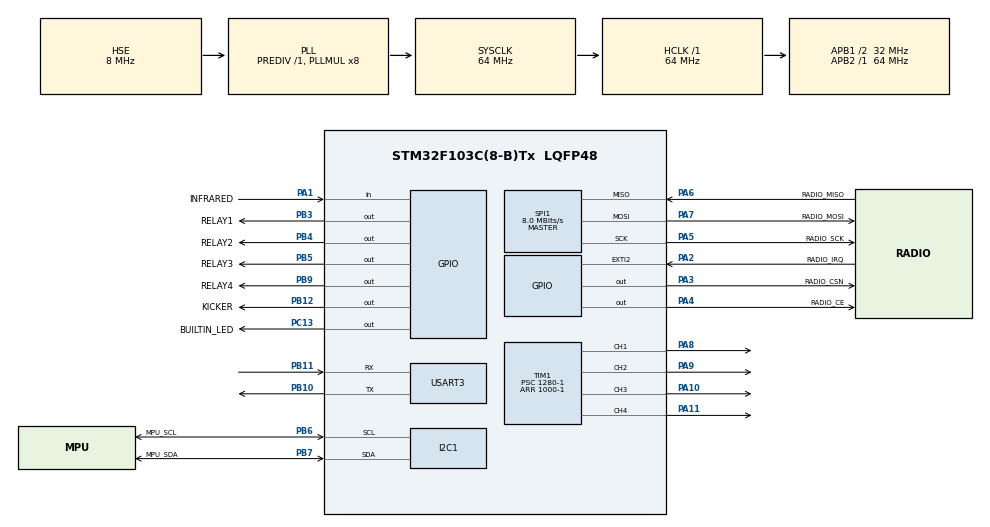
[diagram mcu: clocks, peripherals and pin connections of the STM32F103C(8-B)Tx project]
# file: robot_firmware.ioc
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I2C1.I2C_Mode=I2C_Fast
Mcu.Family=STM32F1
Mcu.Name=STM32F103C(8-B)Tx
Mcu.Package=LQFP48
NVIC.PriorityGroup=NVIC_PRIORITYGROUP_4
NVIC.TIM2_IRQn=true\:0\:0\:false\:false\:true\:true\:true\:true
NVIC.TIM3_IRQn=true\:0\:0\:false\:false\:true\:true\:true\:true
NVIC.TIM4_IRQn=true\:0\:0\:false\:false\:true\:true\:true\:true
PA1.GPIO_Label=INFRARED
PA1.Signal=GPIO_Input
PA10.Signal=S_TIM1_CH3
PA11.Signal=S_TIM1_CH4
PA2.GPIO_Label=RADIO_IRQ
PA2.Signal=GPXTI2
PA3.GPIO_Label=RADIO_CSN
PA3.Signal=GPIO_Output
PA4.GPIO_Label=RADIO_CE
PA4.Signal=GPIO_Output
PA5.GPIO_Label=RADIO_SCK
PA5.Mode=Full_Duplex_Master
PA5.Signal=SPI1_SCK
PA6.GPIO_Label=RADIO_MISO
PA6.Mode=Full_Duplex_Master
PA6.Signal=SPI1_MISO
PA7.GPIO_Label=RADIO_MOSI
PA7.Mode=Full_Duplex_Master
PA7.Signal=SPI1_MOSI
PA8.Signal=S_TIM1_CH1
PA9.Signal=S_TIM1_CH2
PB10.Mode=Asynchronous
PB10.Signal=USART3_TX
PB11.Mode=Asynchronous
PB11.Signal=USART3_RX
PB12.GPIO_Label=KICKER
PB12.Signal=GPIO_Output
PB3.GPIO_Label=RELAY1
PB3.Signal=GPIO_Output
PB4.GPIO_Label=RELAY2
PB4.Signal=GPIO_Output
PB5.GPIO_Label=RELAY3
PB5.Signal=GPIO_Output
PB6.GPIO_Label=MPU_SCL
PB6.Mode=I2C
PB6.Signal=I2C1_SCL
PB7.GPIO_Label=MPU_SDA
PB7.Mode=I2C
PB7.Signal=I2C1_SDA
PB9.GPIO_Label=RELAY4
PB9.Signal=GPIO_Output
PC13-TAMPER-RTC.GPIO_Label=BUILTIN_LED
PC13-TAMPER-RTC.Signal=GPIO_Output
PD0-OSC_IN.Mode=HSE-External-Oscillator
PD0-OSC_IN.Signal=RCC_OSC_IN
PD1-OSC_OUT.Mode=HSE-External-Oscillator
PD1-OSC_OUT.Signal=RCC_OSC_OUT
ProjectManager.HeapSize=0x200
ProjectManager.StackSize=0x400
ProjectManager.TargetToolchain=STM32CubeIDE
RCC.AHBFreq_Value=64000000
RCC.APB1CLKDivider=RCC_HCLK_DIV2
RCC.APB1Freq_Value=32000000
RCC.APB1TimFreq_Value=64000000
RCC.APB2Freq_Value=64000000
RCC.APB2TimFreq_Value=64000000
RCC.HCLKFreq_Value=64000000
RCC.PLLMUL=RCC_PLL_MUL8
RCC.PLLSourceVirtual=RCC_PLLSOURCE_HSE
RCC.SYSCLKFreq_VALUE=64000000
RCC.SYSCLKSource=RCC_SYSCLKSOURCE_PLLCLK
RCC.USBFreq_Value=64000000
SH.S_TIM1_CH1.0=TIM1_CH1,PWM Generation1 CH1
SH.S_TIM1_CH2.0=TIM1_CH2,PWM Generation2 CH2
SH.S_TIM1_CH3.0=TIM1_CH3,PWM Generation3 CH3
SH.S_TIM1_CH4.0=TIM1_CH4,PWM Generation4 CH4
SPI1.BaudRatePrescaler=SPI_BAUDRATEPRESCALER_8
SPI1.CalculateBaudRate=8.0 MBits/s
SPI1.Direction=SPI_DIRECTION_2LINES
SPI1.Mode=SPI_MODE_MASTER
SPI1.VirtualType=VM_MASTER
TIM1.Channel-PWM\ Generation1\ CH1=TIM_CHANNEL_1
TIM1.Channel-PWM\ Generation2\ CH2=TIM_CHANNEL_2
TIM1.Channel-PWM\ Generation3\ CH3=TIM_CHANNEL_3
TIM1.Channel-PWM\ Generation4\ CH4=TIM_CHANNEL_4
TIM1.Period=1000-1
TIM1.Prescaler=1280-1
TIM2.Period=11250-1
TIM2.Prescaler=100-1
TIM3.Period=3750-1
TIM3.Prescaler=100-1
TIM4.Period=12800-1
TIM4.Prescaler=1000-1
USART3.VirtualMode=VM_ASYNC
VP_SYS_VS_ND.Mode=No_Debug
VP_TIM2_VS_ClockSourceINT.Mode=Internal
VP_TIM3_VS_ClockSourceINT.Mode=Internal
VP_TIM4_VS_ClockSourceINT.Mode=Internal
board=custom

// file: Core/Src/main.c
/* USER CODE BEGIN Header */
/**
 ******************************************************************************
 * @file           : main.c
 * @brief          : Main program body
 ******************************************************************************
 * @attention
 *
 * Copyright (c) 2024 STMicroelectronics.
 * All rights reserved.
 *
 * This software is licensed under terms that can be found in the LICENSE file
 * in the root directory of this software component.
 * If no LICENSE file comes with this software, it is provided AS-IS.
 *
 ******************************************************************************
 */
/* USER CODE END Header */
#include "main.h"
#include "i2c.h"
#include "spi.h"
#include "tim.h"
#include "usart.h"
#include "gpio.h"

/* USER CODE BEGIN Includes */

#include "radio_interface.h"

#include "inverse_kinematics.h"

#include "motor_activation.h"

#include "mpu6050.h"

#include "pid.h"

#define VERBOSE

#ifdef VERBOSE
#include <stdio.h>
#endif

/* USER CODE END Includes */

/* USER CODE BEGIN PD */
#define SERIAL_UART huart3

#define HSPI hspi1

#define HTIM htim1

#define MOTOR_TIMER TIM1
/* USER CODE END PD */

void SystemClock_Config(void);
/* USER CODE BEGIN PFP */
#ifdef VERBOSE
int __io_putchar(int ch);
#endif

void calculate_IMU_error();
/* USER CODE END PFP */

/* USER CODE BEGIN 0 */

command_t cmd;
command_t *p_cmd = &cmd;

rf24_dev_t radio_device;
rf24_dev_t *p_radio_dev = &radio_device; /* Pointer to module instance */

uint8_t my_address[5] = { 0xB9, 0xB7, 0xE7, 0xE9, 0xC2 };
uint8_t transmitter_address[5] = { 0xB9, 0xB7, 0xE7, 0xE9, 0xC3 };

float *inverse_kinematics_result;

MPU6050_t MPU6050;
float GyroErrorX;

PID_TypeDef TPIDVTheta;
float PIDOutVtheta;

uint8_t canKick = 1; // True

/* USER CODE END 0 */

int main(void) {

	/* MCU Configuration--------------------------------------------------------*/

	/* Reset of all peripherals, Initializes the Flash interface and the Systick. */
	HAL_Init();

	/* Configure the system clock */
	SystemClock_Config();

	/* Initialize all configured peripherals */
	MX_GPIO_Init();
	MX_SPI1_Init();
	MX_USART3_UART_Init();
	MX_TIM1_Init();
	MX_TIM2_Init();
	MX_I2C1_Init();
	MX_TIM3_Init();
	MX_TIM4_Init();
	/* USER CODE BEGIN 2 */

	/////////////////////////////////////////////////////////////////////////////
	printf("Initializing motors\r\n");

	motor_init(htim1, MOTOR_TIMER);

	printf("Motors initialized\r\n");
	/////////////////////////////////////////////////////////////////////////////

	/////////////////////////////////////////////////////////////////////////////
	printf("Initializing NRF24\r\n");

	// TODO: create a function for radio config and init
	//(for some reason it stops working in a function)
	/* RADIO CONFIGURATION AND INITIALIZATION */

	/* Get default configuration */
	p_radio_dev->platform_setup.spi_timeout = 1000U;
	p_radio_dev->payload_size = PAYLOAD_SIZE;
	p_radio_dev->addr_width = 5U;
	p_radio_dev->datarate = RF24_1MBPS;
	p_radio_dev->channel = 76U;

	for (uint8_t i = 0; i < RF24_ADDRESS_MAX_SIZE; i++) {
		p_radio_dev->pipe0_reading_address[i] = 0;
	}

	/* Set spi to be used */
	p_radio_dev->platform_setup.hspi = &HSPI;

	p_radio_dev->platform_setup.csn_port = RADIO_CSN_GPIO_Port;
	p_radio_dev->platform_setup.csn_pin = RADIO_CSN_Pin;

	p_radio_dev->platform_setup.irq_port = RADIO_IRQ_GPIO_Port;
	p_radio_dev->platform_setup.irq_pin = RADIO_IRQ_Pin;

	p_radio_dev->platform_setup.ce_port = RADIO_CE_GPIO_Port;
	p_radio_dev->platform_setup.ce_pin = RADIO_CE_Pin;

	while (rf24_init(p_radio_dev) != RF24_SUCCESS)
		;

	// TODO: test different output power levels
	// rf24_set_output_power(p_radio_dev, output_power);

	rf24_status_t device_status = RF24_SUCCESS; /* Variable to receive the statuses returned by the functions */

	if (device_status == RF24_SUCCESS) {
		device_status = rf24_open_writing_pipe(p_radio_dev,
				transmitter_address);
	}

	if (device_status == RF24_SUCCESS) {
		device_status = rf24_open_reading_pipe(p_radio_dev, 1, my_address);
	}

	if (device_status == RF24_SUCCESS) {
		device_status = rf24_start_listening(p_radio_dev);
	}

	if (device_status != RF24_SUCCESS) {
		printf("Error during nrf24 setup\r\n");
	}
	printf("Radio initialized\r\n");
	///////////////////////////////////////////////////////////////////////////// // @suppress("Line comments")

	/////////////////////////////////////////////////////////////////////////////
	printf("Initializing MPU6050\r\n");

	while (MPU6050_Init(&hi2c1) == 1)
		;

	printf("Calculating mean static error\r\n");

	calculate_IMU_error(MPU6050);

	printf("MPU6050 initialized\r\n");
	/////////////////////////////////////////////////////////////////////////////

	/////////////////////////////////////////////////////////////////////////////
	printf("Creating PID control system\r\n");

	// TODO: Calibrate pid values

	/*Angular velocity*/
	PID(&TPIDVTheta, &(MPU6050.Gz), &PIDOutVtheta, &(cmd.vtheta), 2, 5, 1,
			_PID_P_ON_E, _PID_CD_DIRECT);

	PID_SetMode(&TPIDVTheta, _PID_MODE_AUTOMATIC);
	PID_SetSampleTime(&TPIDVTheta, 100);
	PID_SetOutputLimits(&TPIDVTheta, -50, 50);

	printf("PID control system initialized\r\n");
	/////////////////////////////////////////////////////////////////////////////

	/////////////////////////////////////////////////////////////////////////////
	printf("Initializing inverse kinematics\r\n");
	inverse_kinematics_result = inverse_kinematics_init();
	printf("Inverse kinematics initialized\r\n");

	// Start timer interrupt for reading radio values
	HAL_TIM_Base_Start_IT(&htim2);

	/* USER CODE END 2 */

	/* Infinite loop */
	/* USER CODE BEGIN WHILE */

	HAL_GPIO_TogglePin(BUILTIN_LED_GPIO_Port, BUILTIN_LED_Pin);

	p_cmd->vx = 0.0;
	p_cmd->vy = 0.0;
	p_cmd->kik_sig = 1;

	while (1) {
		/* USER CODE END WHILE */

		/* USER CODE BEGIN 3 */

		/*		READ KICK SIGNAL AND INFRARED FOR KICKCING		*/

		p_cmd->kik_sig = 1;
		if (p_cmd->kik_sig == 1 && canKick) {
			if (HAL_GPIO_ReadPin(INFRARED_GPIO_Port, INFRARED_Pin) == 0) {
				canKick = 0; // False
				HAL_TIM_Base_Start_IT(&htim4);
				HAL_TIM_Base_Start_IT(&htim3);
				HAL_GPIO_WritePin(KICKER_GPIO_Port, KICKER_Pin, GPIO_PIN_SET);
			}
		}

		/*		READ DATA FROM MPU6050 and treat it		*/
		MPU6050_Read_Gyro(&hi2c1, &MPU6050);

		/*		Compute compensated values for Vtheta		*/
		PID_Compute(&TPIDVTheta);

		/*		Get wheel speed from inverse kinematics		*/
		calculate_wheel_speed(p_cmd, PIDOutVtheta);

		/*		Write speed to motors		*/
		write_speed_to_motors(MOTOR_TIMER, inverse_kinematics_result);

	}
	/* USER CODE END 3 */
}

void SystemClock_Config(void) {
	RCC_OscInitTypeDef RCC_OscInitStruct = { 0 };
	RCC_ClkInitTypeDef RCC_ClkInitStruct = { 0 };

	/** Initializes the RCC Oscillators according to the specified parameters
	 * in the RCC_OscInitTypeDef structure.
	 */
	RCC_OscInitStruct.OscillatorType = RCC_OSCILLATORTYPE_HSE;
	RCC_OscInitStruct.HSEState = RCC_HSE_ON;
	RCC_OscInitStruct.HSEPredivValue = RCC_HSE_PREDIV_DIV1;
	RCC_OscInitStruct.HSIState = RCC_HSI_ON;
	RCC_OscInitStruct.PLL.PLLState = RCC_PLL_ON;
	RCC_OscInitStruct.PLL.PLLSource = RCC_PLLSOURCE_HSE;
	RCC_OscInitStruct.PLL.PLLMUL = RCC_PLL_MUL8;
	if (HAL_RCC_OscConfig(&RCC_OscInitStruct) != HAL_OK) {
		Error_Handler();
	}

	/** Initializes the CPU, AHB and APB buses clocks
	 */
	RCC_ClkInitStruct.ClockType = RCC_CLOCKTYPE_HCLK | RCC_CLOCKTYPE_SYSCLK
			| RCC_CLOCKTYPE_PCLK1 | RCC_CLOCKTYPE_PCLK2;
	RCC_ClkInitStruct.SYSCLKSource = RCC_SYSCLKSOURCE_PLLCLK;
	RCC_ClkInitStruct.AHBCLKDivider = RCC_SYSCLK_DIV1;
	RCC_ClkInitStruct.APB1CLKDivider = RCC_HCLK_DIV2;
	RCC_ClkInitStruct.APB2CLKDivider = RCC_HCLK_DIV1;

	if (HAL_RCC_ClockConfig(&RCC_ClkInitStruct, FLASH_LATENCY_2) != HAL_OK) {
		Error_Handler();
	}
}

/* USER CODE BEGIN 4 */
#ifdef VERBOSE
int __io_putchar(int ch) {
	HAL_UART_Transmit(&SERIAL_UART, (uint8_t*) &ch, 1, HAL_MAX_DELAY);
	return (ch);
}
#endif

void HAL_TIM_PeriodElapsedCallback(TIM_HandleTypeDef *htim) {
	/*
	 previousTime = currentTime;
	 currentTime = HAL_GetTick();
	 elapsedTime = (currentTime - previousTime);

	 printf(">elapsed_time:%lu\r\n", elapsedTime);
	 * */
	if (htim->Instance == TIM3) {
		HAL_GPIO_WritePin(KICKER_GPIO_Port, KICKER_Pin, GPIO_PIN_RESET);
		HAL_TIM_Base_Stop_IT(htim);
	} else if (htim->Instance == TIM4) {
		canKick = 1; //True
		HAL_TIM_Base_Stop_IT(htim);
	} else if (htim->Instance == TIM2) {
		radio_read_and_update(p_radio_dev, p_cmd, &TPIDVTheta);
	}
}

void calculate_IMU_error(MPU6050_t MPU6050) {
	int error_iterations = 10000;

	for (int c = 0; c < error_iterations; c++) {
		MPU6050_Read_Gyro(&hi2c1, &MPU6050);

		// Sum all readings
		GyroErrorX = GyroErrorX + MPU6050.Gx;
	}
// Divide the sum by 200 to get the error value
	GyroErrorX = GyroErrorX / error_iterations;
}

/* USER CODE END 4 */

void Error_Handler(void) {
	/* USER CODE BEGIN Error_Handler_Debug */
	/* User can add his own implementation to report the HAL error return state */
	__disable_irq();
	while (1) {
		printf("Erro kkkkkkkkk\r\n");
	}
	/* USER CODE END Error_Handler_Debug */
}
